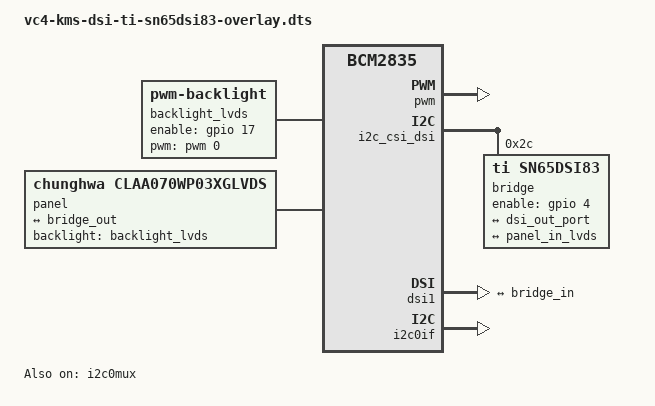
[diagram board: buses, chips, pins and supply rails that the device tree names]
/*
 * vc4-kms-dsi-sn65dsi8x-overlay.dts
 */

/dts-v1/;
/plugin/;
#include <dt-bindings/gpio/gpio.h>

/ {
	compatible = "brcm,bcm2835";

	/* PWM0 function */
	fragment@0 {
		target = <&gpio>;
		__overlay__ {
			pwm_pins: pwm_pins {
				brcm,pins = <12>;
				brcm,function = <4>; /* Alt1 */
			};
		};
	};

	fragment@1 {
		target = <&pwm>;
		frag1: __overlay__ {
			pinctrl-names = "default";
			pinctrl-0 = <&pwm_pins>;
			assigned-clock-rates = <100000000>;
			status = "okay";
		};
	};

	fragment@2 {
		target-path = "/";
		__overlay__ {
			//#gpio-cells = <2>;
			/* Panel backlight through PWM0 on GPIO 12 */
			backlight_lvds: backlight {
				compatible = "pwm-backlight";
				pwms = <&pwm 0 5000000>; /* Period of 5000000ns means 200Hz */
				brightness-levels = <0  1000>;
				num-interpolated-steps = <1000>;
				default-brightness-level = <800>;
				enable-gpios = <&gpio 17 0>; /* Backlight enable... */
			};

			panel: panel {
				compatible = "chunghwa,claa070wp03xglvds", "simple-panel";
				backlight = <&backlight_lvds>;

				port {
					panel_in_lvds: endpoint {
						remote-endpoint = <&bridge_out>;
					};
				};
			};
		};
	};

	fragment@3 {
		target = <&i2c_csi_dsi>;
		__overlay__ {
			#gpio-cells = <2>;
			#address-cells = <1>;
			#size-cells = <0>;
			status = "okay";

			bridge@2c {
				compatible = "ti,sn65dsi83";
				reg = <0x2c>;
				enable-gpios = <&gpio 4 0>;

				ports {
					#address-cells = <1>;
					#size-cells = <0>;

					port@0 {
						reg = <0>;
						bridge_in: endpoint {
							remote-endpoint = <&dsi_out_port>;
							data-lanes = <0 1 2 3>;
						};
					};

					port@2 {
						reg = <2>;
						bridge_out: endpoint {
							remote-endpoint = <&panel_in_lvds>;
						};
					};
				};
			};
		};
	};

	fragment@4 {
		target = <&dsi1>;
		__overlay__ {
			#address-cells = <1>;
			#size-cells = <0>;
			status = "okay";
			port {
				dsi_out_port: endpoint {
					remote-endpoint = <&bridge_in>;
					data-lanes = <0 1 2 3>;
				};
			};
		};
	};

	fragment@5 {
		target = <&i2c0if>;
		__overlay__ {
			status = "okay";
		};
	};
		
	fragment@6 {
		target = <&i2c0mux>;
		__overlay__ {
			status = "okay";
		};
	};
};
